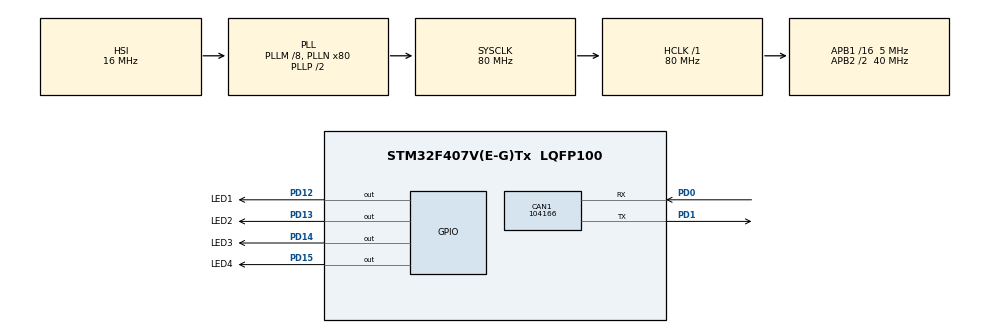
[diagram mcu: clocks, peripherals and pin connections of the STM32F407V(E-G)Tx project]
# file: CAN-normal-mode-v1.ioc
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CAN1.CalculateBaudRate=104166
CAN1.CalculateTimeBit=9600
CAN1.CalculateTimeQuantum=3200.0
Mcu.Family=STM32F4
Mcu.Name=STM32F407V(E-G)Tx
Mcu.Package=LQFP100
NVIC.PriorityGroup=NVIC_PRIORITYGROUP_0
NVIC.TIM6_DAC_IRQn=true\:0\:0\:false\:false\:true\:true\:true\:true
PA13.GPIO_Label=SWDIO
PA13.Mode=Serial_Wire
PA13.Signal=SYS_JTMS-SWDIO
PA14.GPIO_Label=SWCK
PA14.Mode=Serial_Wire
PA14.Signal=SYS_JTCK-SWCLK
PB3.GPIO_Label=SWO
PB3.Signal=SYS_JTDO-SWO
PC14-OSC32_IN.Signal=RCC_OSC32_IN
PC15-OSC32_OUT.Signal=RCC_OSC32_OUT
PD0.Mode=CAN_Activate
PD0.Signal=CAN1_RX
PD1.Mode=CAN_Activate
PD1.Signal=CAN1_TX
PD12.GPIO_Label=LED1
PD12.Signal=GPIO_Output
PD13.GPIO_Label=LED2
PD13.Signal=GPIO_Output
PD14.GPIO_Label=LED3
PD14.Signal=GPIO_Output
PD15.GPIO_Label=LED4
PD15.Signal=GPIO_Output
PH0-OSC_IN.Mode=HSE-External-Oscillator
PH0-OSC_IN.Signal=RCC_OSC_IN
PH1-OSC_OUT.Mode=HSE-External-Oscillator
PH1-OSC_OUT.Signal=RCC_OSC_OUT
ProjectManager.HeapSize=0x200
ProjectManager.StackSize=0x400
ProjectManager.TargetToolchain=STM32CubeIDE
RCC.48MHZClocksFreq_Value=22857142.85714286
RCC.AHBFreq_Value=80000000
RCC.APB1CLKDivider=RCC_HCLK_DIV16
RCC.APB1Freq_Value=5000000
RCC.APB1TimFreq_Value=10000000
RCC.APB2CLKDivider=RCC_HCLK_DIV2
RCC.APB2Freq_Value=40000000
RCC.APB2TimFreq_Value=80000000
RCC.CortexFreq_Value=80000000
RCC.HCLKFreq_Value=80000000
RCC.HSE_VALUE=8000000
RCC.HSI_VALUE=16000000
RCC.PLLM=8
RCC.PLLN=80
RCC.PLLQ=7
RCC.SYSCLKFreq_VALUE=80000000
RCC.SYSCLKSource=RCC_SYSCLKSOURCE_PLLCLK
RCC.VCOOutputFreq_Value=160000000
TIM6.AutoReloadPreload=TIM_AUTORELOAD_PRELOAD_ENABLE
TIM6.Period=1000
TIM6.Prescaler=10000
VP_TIM6_VS_ClockSourceINT.Mode=Enable_Timer
board=STM32F407G-DISC1

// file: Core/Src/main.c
/* USER CODE BEGIN Header */
/**
  ******************************************************************************
  * @file           : main.c
  * @brief          : Main program body
  ******************************************************************************
  * @attention
  *
  * Copyright (c) 2024 STMicroelectronics.
  * All rights reserved.
  *
  * This software is licensed under terms that can be found in the LICENSE file
  * in the root directory of this software component.
  * If no LICENSE file comes with this software, it is provided AS-IS.
  *
  ******************************************************************************
  */
/* USER CODE END Header */
#include "main.h"
#include <string.h>
#include <stdio.h>

/* USER CODE BEGIN PTD */

// Declaring the function prototypes
void CAN1_Init(void);
void CAN1_Tx(void);
void CAN1_Filter_Config(void);
void send_response(uint32_t std_id);
void LED_output(uint8_t led_no);

/* USER CODE END PTD */

CAN_HandleTypeDef hcan1;

TIM_HandleTypeDef htim6;

/* USER CODE BEGIN PV */
CAN_RxHeaderTypeDef RxHeader;
uint8_t req_counter = 0;
uint8_t led_no;

/* USER CODE END PV */

void SystemClock_Config(void);
static void MX_GPIO_Init(void);
static void MX_CAN1_Init(void);
static void MX_TIM6_Init(void);

int main(void)
{

  /* MCU Configuration--------------------------------------------------------*/

  /* Reset of all peripherals, Initializes the Flash interface and the Systick. */
  HAL_Init();

  /* Configure the system clock */
  SystemClock_Config();

  /* Initialize all configured peripherals */
  MX_GPIO_Init();
  MX_CAN1_Init();
  MX_TIM6_Init();
  /* USER CODE BEGIN 2 */

  CAN1_Init();
  CAN1_Filter_Config();

  /* USER CODE END 2 */
  if(HAL_CAN_ActivateNotification(&hcan1, CAN_IT_TX_MAILBOX_EMPTY|CAN_IT_RX_FIFO0_MSG_PENDING|CAN_IT_BUSOFF) != HAL_OK)
	  Error_Handler();

  if(HAL_CAN_Start(&hcan1) != HAL_OK)
	  Error_Handler();

  /* Infinite loop */
  while (1)
  {

  }

  return 0;
}

void SystemClock_Config(void)
{
  RCC_OscInitTypeDef RCC_OscInitStruct = {0};
  RCC_ClkInitTypeDef RCC_ClkInitStruct = {0};

  /** Configure the main internal regulator output voltage
  */
  __HAL_RCC_PWR_CLK_ENABLE();
  __HAL_PWR_VOLTAGESCALING_CONFIG(PWR_REGULATOR_VOLTAGE_SCALE1);

  /** Initializes the RCC Oscillators according to the specified parameters
  * in the RCC_OscInitTypeDef structure.
  */
  RCC_OscInitStruct.OscillatorType = RCC_OSCILLATORTYPE_HSI;
  RCC_OscInitStruct.HSIState = RCC_HSI_ON;
  RCC_OscInitStruct.HSICalibrationValue = RCC_HSICALIBRATION_DEFAULT;
  RCC_OscInitStruct.PLL.PLLState = RCC_PLL_ON;
  RCC_OscInitStruct.PLL.PLLSource = RCC_PLLSOURCE_HSI;
  RCC_OscInitStruct.PLL.PLLM = 8;
  RCC_OscInitStruct.PLL.PLLN = 80;
  RCC_OscInitStruct.PLL.PLLP = RCC_PLLP_DIV2;
  RCC_OscInitStruct.PLL.PLLQ = 7;
  if (HAL_RCC_OscConfig(&RCC_OscInitStruct) != HAL_OK)
  {
    Error_Handler();
  }

  /** Initializes the CPU, AHB and APB buses clocks
  */
  RCC_ClkInitStruct.ClockType = RCC_CLOCKTYPE_HCLK|RCC_CLOCKTYPE_SYSCLK
                              |RCC_CLOCKTYPE_PCLK1|RCC_CLOCKTYPE_PCLK2;
  RCC_ClkInitStruct.SYSCLKSource = RCC_SYSCLKSOURCE_PLLCLK;
  RCC_ClkInitStruct.AHBCLKDivider = RCC_SYSCLK_DIV1;
  RCC_ClkInitStruct.APB1CLKDivider = RCC_HCLK_DIV16;
  RCC_ClkInitStruct.APB2CLKDivider = RCC_HCLK_DIV2;

  if (HAL_RCC_ClockConfig(&RCC_ClkInitStruct, FLASH_LATENCY_2) != HAL_OK)
  {
    Error_Handler();
  }
}

static void MX_CAN1_Init(void)
{

  hcan1.Instance = CAN1;
  hcan1.Init.Prescaler = 16;
  hcan1.Init.Mode = CAN_MODE_NORMAL;
  hcan1.Init.SyncJumpWidth = CAN_SJW_1TQ;
  hcan1.Init.TimeSeg1 = CAN_BS1_1TQ;
  hcan1.Init.TimeSeg2 = CAN_BS2_1TQ;
  hcan1.Init.TimeTriggeredMode = DISABLE;
  hcan1.Init.AutoBusOff = DISABLE;
  hcan1.Init.AutoWakeUp = DISABLE;
  hcan1.Init.AutoRetransmission = DISABLE;
  hcan1.Init.ReceiveFifoLocked = DISABLE;
  hcan1.Init.TransmitFifoPriority = DISABLE;
  if (HAL_CAN_Init(&hcan1) != HAL_OK)
  {
    Error_Handler();
  }

}

static void MX_TIM6_Init(void)
{

  TIM_MasterConfigTypeDef sMasterConfig = {0};

  htim6.Instance = TIM6;
  htim6.Init.Prescaler = 10000;
  htim6.Init.CounterMode = TIM_COUNTERMODE_UP;
  htim6.Init.Period = 1000;
  htim6.Init.AutoReloadPreload = TIM_AUTORELOAD_PRELOAD_ENABLE;
  if (HAL_TIM_Base_Init(&htim6) != HAL_OK)
  {
    Error_Handler();
  }
  sMasterConfig.MasterOutputTrigger = TIM_TRGO_RESET;
  sMasterConfig.MasterSlaveMode = TIM_MASTERSLAVEMODE_DISABLE;
  if (HAL_TIMEx_MasterConfigSynchronization(&htim6, &sMasterConfig) != HAL_OK)
  {
    Error_Handler();
  }

}

static void MX_GPIO_Init(void)
{
  GPIO_InitTypeDef GPIO_InitStruct = {0};

  /* GPIO Ports Clock Enable */
  __HAL_RCC_GPIOC_CLK_ENABLE();
  __HAL_RCC_GPIOH_CLK_ENABLE();
  __HAL_RCC_GPIOD_CLK_ENABLE();
  __HAL_RCC_GPIOA_CLK_ENABLE();
  __HAL_RCC_GPIOB_CLK_ENABLE();

  /*Configure GPIO pin Output Level */
  HAL_GPIO_WritePin(GPIOD, LED1_Pin|LED2_Pin|LED3_Pin|LED4_Pin, GPIO_PIN_RESET);

  /*Configure GPIO pins : LED1_Pin LED2_Pin LED3_Pin LED4_Pin */
  GPIO_InitStruct.Pin = LED1_Pin|LED2_Pin|LED3_Pin|LED4_Pin;
  GPIO_InitStruct.Mode = GPIO_MODE_OUTPUT_PP;
  GPIO_InitStruct.Pull = GPIO_NOPULL;
  GPIO_InitStruct.Speed = GPIO_SPEED_FREQ_LOW;
  HAL_GPIO_Init(GPIOD, &GPIO_InitStruct);

}

/* USER CODE BEGIN 4 */

// CAN1 initialization function
void CAN1_Init(void)
{
	hcan1.Instance = CAN1;
	hcan1.Init.Mode = CAN_MODE_NORMAL;
	hcan1.Init.AutoBusOff = ENABLE;
	hcan1.Init.AutoRetransmission = ENABLE;
	hcan1.Init.AutoWakeUp = DISABLE;
	hcan1.Init.ReceiveFifoLocked = DISABLE;
	hcan1.Init.TimeTriggeredMode = DISABLE;
	hcan1.Init.TransmitFifoPriority = DISABLE;

	// Settings related to CAN1 timing
	hcan1.Init.Prescaler = 3;
	hcan1.Init.SyncJumpWidth = CAN_SJW_1TQ;
	hcan1.Init.TimeSeg1 = CAN_BS1_11TQ;
	hcan1.Init.TimeSeg2 = CAN_BS2_2TQ;

	if(HAL_CAN_Init(&hcan1) != HAL_OK)
	{
		Error_Handler();
	}
}

void CAN1_Tx(void)
{
	CAN_TxHeaderTypeDef TxHeader;
	uint32_t Txmailbox;
	uint8_t message;

	// Defining the parameters for TxHeader
	TxHeader.StdId = 0x65D;
	TxHeader.DLC = 1;
	TxHeader.IDE = CAN_ID_STD;
	TxHeader.RTR = CAN_RTR_DATA;

	message = ++led_no;

	if(led_no == 4)
	{
		led_no = 0;
	}

	if(HAL_CAN_AddTxMessage(&hcan1, &TxHeader, &message, &Txmailbox) != HAL_OK)
	{
		Error_Handler();
	}
}

void CAN1_Filter_Config(void)
{
	CAN_FilterTypeDef can1_filter_init;

	// Initializing the filter variables
	can1_filter_init.FilterActivation = CAN_FILTERMODE_IDMASK;
	can1_filter_init.FilterBank = 0;
	can1_filter_init.FilterFIFOAssignment = CAN_FILTER_FIFO0;
	can1_filter_init.FilterIdHigh = 0x0000;
	can1_filter_init.FilterIdLow = 0x0000;
	can1_filter_init.FilterMaskIdHigh = 0x01C0;
	can1_filter_init.FilterMaskIdLow = 0x0000;
	can1_filter_init.FilterMode = CAN_FILTERMODE_IDMASK;
	can1_filter_init.FilterScale = CAN_FILTERSCALE_32BIT;

	// configuring the filter
	if(HAL_CAN_ConfigFilter(&hcan1, &can1_filter_init) != HAL_OK)
	{
		Error_Handler();
	}
}

void send_response(uint32_t std_id)
{
	CAN_TxHeaderTypeDef TxHeader;
	uint32_t Txmailbox;
	uint8_t response[2] = {0xAB, 0xCD};

	TxHeader.DLC = 2;
	TxHeader.IDE = CAN_ID_STD;
	TxHeader.StdId = std_id;
	TxHeader.RTR = CAN_RTR_DATA;

	if(HAL_CAN_AddTxMessage(&hcan1, &TxHeader, response, &Txmailbox) != HAL_OK)
	{
		Error_Handler();
	}
}

void LED_output(uint8_t led_no)
{
	switch(led_no)
	{
	case 1:
		HAL_GPIO_WritePin(GPIOD, GPIO_PIN_12, GPIO_PIN_SET);
		HAL_GPIO_WritePin(GPIOD, GPIO_PIN_13, GPIO_PIN_RESET);
		HAL_GPIO_WritePin(GPIOD, GPIO_PIN_14, GPIO_PIN_RESET);
		HAL_GPIO_WritePin(GPIOD, GPIO_PIN_15, GPIO_PIN_RESET);

	case 2:
		HAL_GPIO_WritePin(GPIOD, GPIO_PIN_12, GPIO_PIN_RESET);
		HAL_GPIO_WritePin(GPIOD, GPIO_PIN_13, GPIO_PIN_SET);
		HAL_GPIO_WritePin(GPIOD, GPIO_PIN_14, GPIO_PIN_RESET);
		HAL_GPIO_WritePin(GPIOD, GPIO_PIN_15, GPIO_PIN_RESET);

	case 3:
		HAL_GPIO_WritePin(GPIOD, GPIO_PIN_12, GPIO_PIN_RESET);
		HAL_GPIO_WritePin(GPIOD, GPIO_PIN_13, GPIO_PIN_RESET);
		HAL_GPIO_WritePin(GPIOD, GPIO_PIN_14, GPIO_PIN_SET);
		HAL_GPIO_WritePin(GPIOD, GPIO_PIN_15, GPIO_PIN_RESET);

	case 4:
		HAL_GPIO_WritePin(GPIOD, GPIO_PIN_12, GPIO_PIN_RESET);
		HAL_GPIO_WritePin(GPIOD, GPIO_PIN_13, GPIO_PIN_RESET);
		HAL_GPIO_WritePin(GPIOD, GPIO_PIN_14, GPIO_PIN_RESET);
		HAL_GPIO_WritePin(GPIOD, GPIO_PIN_15, GPIO_PIN_SET);
	}
}

// Callback functions to handle interrupt based events for CAN

// callback function to trigger interrupt if TxMailBox-0 is empty
void HAL_CAN_TxMailbox0CompleteCallback(CAN_HandleTypeDef *hcan)
{
	printf("Message transmitted from TxMailBox-0\n");
}

// callback function to trigger interrupt if TxMailBox-1 is empty
void HAL_CAN_TxMailbox1CompleteCallback(CAN_HandleTypeDef *hcan)
{
	printf("Message transmitted from TxMailBox-1\n");
}

// callback function to trigger interrupt if TxMailBox-2 is empty
void HAL_CAN_TxMailbox2CompleteCallback(CAN_HandleTypeDef *hcan)
{
	printf("Message transmitted from TxMailBox-2\n");
}

// callback function to get received message and process
void HAL_CAN_RxFifo0MsgPendingCallback(CAN_HandleTypeDef *hcan)
{
	uint8_t rcvd_msg[8];

	// Checking if the received frame is valid
	if(HAL_CAN_GetRxMessage(&hcan1, CAN_RX_FIFO0, &RxHeader, rcvd_msg) != HAL_OK)
	{
		Error_Handler();
	}

	// processing data frame sent from N1 to N2
	if(RxHeader.StdId == 0x65D && RxHeader.RTR == 0)
	{
		LED_output(rcvd_msg[0]);
		printf("Message received : %d", rcvd_msg[0]);
	}

	// processing remote frame sent from N1 to N2
	else if(RxHeader.StdId == 0x651 && RxHeader.RTR == 1)
	{
		send_response(RxHeader.StdId);
		return;
	}

	// processing data frame sent from N2 to N1
	else if(RxHeader.StdId == 0x651 && RxHeader.IDE == 0)
	{
		printf("Message received : %d", rcvd_msg[0] << 8 | rcvd_msg[1]);
	}

}

// Callback to generate interrupt when timer elapses
void HAL_TIM_PeriodElapsedCallback(TIM_HandleTypeDef *htim)
{
	CAN_TxHeaderTypeDef TxHeader;
	uint32_t Txmailbox;
	uint8_t message;

	if(req_counter == 4)
	{
		// N1 sending remote frame to N2
		TxHeader.DLC = 2; 		//demanding 2 bytes of reply
		TxHeader.StdId = 0x651;
		TxHeader.IDE = CAN_ID_STD;
		TxHeader.RTR = CAN_RTR_REMOTE;

		if(HAL_CAN_AddTxMessage(&hcan1, &TxHeader, &message, &Txmailbox) != HAL_OK)
		{
			Error_Handler();
		}

		req_counter = 0;
	}

	else
	{
		CAN1_Tx();
		req_counter++;
	}
}

/* USER CODE END 4 */

void Error_Handler(void)
{
  __disable_irq();
  while (1)
  {
  }
}
